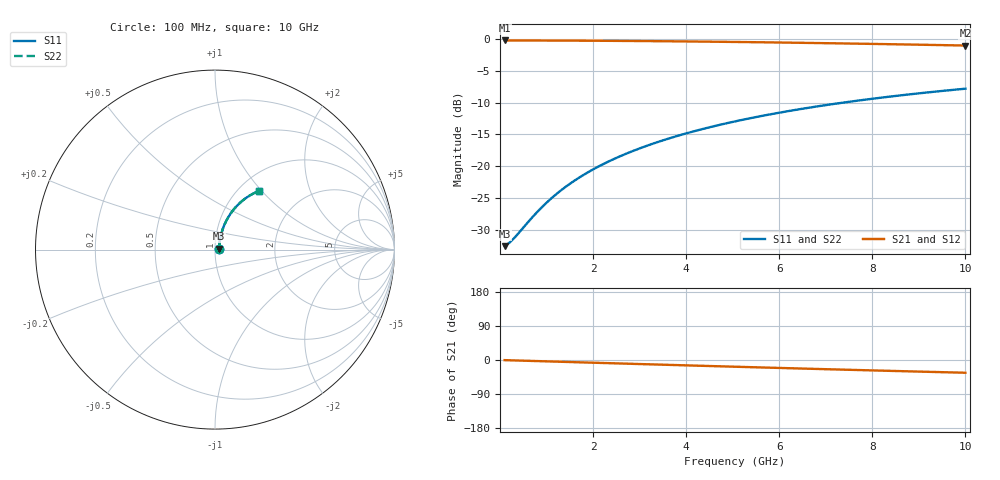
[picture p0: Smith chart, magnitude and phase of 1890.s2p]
# Hz S RI R 50.00
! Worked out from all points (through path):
!   100 points, 100 MHz to 10 GHz, reference 50 ohm
!   highest |S21| = -0.20 dB at 100 MHz (marker M1); lowest = -1.0 dB at 10 GHz (marker M2)
!   group delay of S21, straight-line fit = 9.38 ps
!   lowest |S11| = -32.6 dB at 100 MHz (marker M3), VSWR 1.05, Z = 52.4 + j0.466 ohm
!   |S11| at or under -10 dB: start of sweep to 7.363 GHz
!   |S22| runs from -32.6 to -7.8 dB; largest |S21 - S12| = 0
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1e8  0.023 0.00445  0.9769 -0.0061  0.9769 -0.0061  0.023 0.00445
2e8  0.0233 0.00889  0.9767 -0.0122  0.9767 -0.0122  0.0233 0.00889
3e8  0.0235 0.0133  0.9765 -0.0183  0.9765 -0.0183  0.0235 0.0133
8e8  0.0254 0.0355  0.9745 -0.0487  0.9745 -0.0487  0.0254 0.0355
9e8  0.0259 0.0399  0.974 -0.0547  0.974 -0.0547  0.0259 0.0399
1.1e9  0.0271 0.0486  0.9727 -0.0668  0.9727 -0.0668  0.0271 0.0486
1.4e9  0.0293 0.0617  0.9704 -0.0848  0.9704 -0.0848  0.0293 0.0617
1.6e9  0.031 0.0704  0.9686 -0.0968  0.9686 -0.0968  0.031 0.0704
1.8e9  0.0329 0.079  0.9666 -0.1087  0.9666 -0.1087  0.0329 0.079
2.1e9  0.0362 0.0918  0.9632 -0.1265  0.9632 -0.1265  0.0362 0.0918
2.5e9  0.0413 0.1086  0.9578 -0.1499  0.9578 -0.1499  0.0413 0.1086
2.9e9  0.0471 0.1251  0.9517 -0.173  0.9517 -0.173  0.0471 0.1251
3.4e9  0.0555 0.1451  0.9428 -0.2013  0.9428 -0.2013  0.0555 0.1451
3.8e9  0.063 0.1607  0.9349 -0.2235  0.9349 -0.2235  0.063 0.1607
4.2e9  0.0713 0.1758  0.9262 -0.2453  0.9262 -0.2453  0.0713 0.1758
4.6e9  0.0802 0.1903  0.9168 -0.2665  0.9168 -0.2665  0.0802 0.1903
5.1e9  0.0921 0.2078  0.9042 -0.2922  0.9042 -0.2922  0.0921 0.2078
5.9e9  0.1131 0.2338  0.882 -0.3316  0.882 -0.3316  0.1131 0.2338
6.7e9  0.136 0.2574  0.8576 -0.3685  0.8576 -0.3685  0.136 0.2574
7.5e9  0.1605 0.2783  0.8315 -0.4029  0.8315 -0.4029  0.1605 0.2783
8.4e9  0.1896 0.2987  0.8004 -0.4385  0.8004 -0.4385  0.1896 0.2987
1e10  0.2437 0.3266  0.7419 -0.4935  0.7419 -0.4935  0.2437 0.3266
